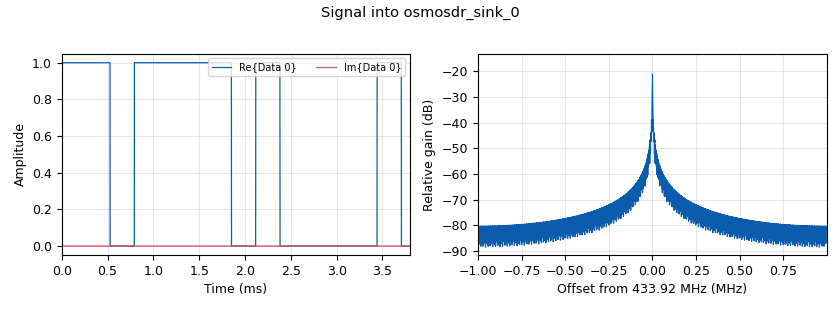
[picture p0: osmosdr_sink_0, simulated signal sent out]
<?xml version='1.0' encoding='utf-8'?>
<?grc format='1' created='3.7.9'?>
<flow_graph>
<block>
<key>options</key>
<param><key>id</key><value>top_block</value></param>
<param><key>category</key><value>Custom</value></param>
<param><key>generate_options</key><value>wx_gui</value></param>
</block>
<block>
<key>variable</key>
<param><key>id</key><value>A_off</value></param>
<param><key>value</key><value>"1010111100111001001011000"</value></param>
</block>
<block>
<key>variable</key>
<param><key>id</key><value>A_on</value></param>
<param><key>value</key><value>"1010010000010100101011000"</value></param>
</block>
<block>
<key>variable</key>
<param><key>id</key><value>B_off</value></param>
<param><key>value</key><value>"1010100010001110110001010"</value></param>
</block>
<block>
<key>variable</key>
<param><key>id</key><value>B_on</value></param>
<param><key>value</key><value>"1010110001010000000001010"</value></param>
</block>
<block>
<key>variable</key>
<param><key>id</key><value>C_off</value></param>
<param><key>value</key><value>"1010111001110110010111100"</value></param>
</block>
<block>
<key>variable</key>
<param><key>id</key><value>C_on</value></param>
<param><key>value</key><value>"1010100110011111100011100"</value></param>
</block>
<block>
<key>variable</key>
<param><key>id</key><value>samp_rate</value></param>
<param><key>value</key><value>2e6</value></param>
</block>
<block>
<key>variable</key>
<param><key>id</key><value>spacing</value></param>
<param><key>value</key><value>1</value></param>
</block>
<block>
<key>blocks_float_to_complex</key>
<param><key>id</key><value>blocks_float_to_complex_0</value></param>
</block>
<block>
<key>blocks_moving_average_xx</key>
<param><key>id</key><value>blocks_moving_average_xx_0</value></param>
<param><key>length</key><value>530/2</value></param>
<param><key>max_iter</key><value>4000</value></param>
<param><key>scale</key><value>1</value></param>
<param><key>type</key><value>float</value></param>
</block>
<block>
<key>blocks_multiply_const_vxx</key>
<param><key>id</key><value>blocks_multiply_const_vxx_0</value></param>
<param><key>const</key><value>1</value></param>
<param><key>type</key><value>float</value></param>
</block>
<block>
<key>blocks_uchar_to_float</key>
<param><key>id</key><value>blocks_uchar_to_float_0</value></param>
</block>
<block>
<key>blocks_unpack_k_bits_bb</key>
<param><key>id</key><value>blocks_unpack_k_bits_bb_0</value></param>
<param><key>k</key><value>10</value></param>
</block>
<block>
<key>blocks_vector_source_x</key>
<param><key>id</key><value>blocks_vector_source_x_0</value></param>
<param><key>type</key><value>byte</value></param>
<param><key>repeat</key><value>True</value></param>
<param><key>vector</key><value>[ int (x) for x in A_on ] + [ 2 ] * spacing</value></param>
</block>
<block>
<key>digital_map_bb</key>
<param><key>id</key><value>digital_map_bb_0</value></param>
<param><key>map</key><value>[0x03C0,0xffff,0x0000]</value></param>
</block>
<block>
<key>osmosdr_sink</key>
<param><key>id</key><value>osmosdr_sink_0</value></param>
<param><key>bb_gain0</key><value>20</value></param>
<param><key>freq0</key><value>433.92e6</value></param>
<param><key>if_gain0</key><value>20</value></param>
<param><key>gain0</key><value>10</value></param>
<param><key>args</key><value></value></param>
<param><key>type</key><value>fc32</value></param>
<param><key>sample_rate</key><value>samp_rate</value></param>
<param><key>sync</key><value></value></param>
</block>
<block>
<key>rational_resampler_xxx</key>
<param><key>id</key><value>rational_resampler_xxx_0</value></param>
<param><key>decim</key><value>1</value></param>
<param><key>fbw</key><value>4</value></param>
<param><key>interp</key><value>530/2</value></param>
<param><key>taps</key><value>1</value></param>
<param><key>type</key><value>fff</value></param>
</block>
<block>
<key>wxgui_scopesink2</key>
<param><key>id</key><value>wxgui_scopesink2_0</value></param>
<param><key>ac_couple</key><value>False</value></param>
<param><key>_enabled</key><value>0</value></param>
<param><key>num_inputs</key><value>1</value></param>
<param><key>samp_rate</key><value>samp_rate</value></param>
<param><key>t_scale</key><value>0</value></param>
<param><key>title</key><value>Scope Plot</value></param>
<param><key>trig_mode</key><value>wxgui.TRIG_MODE_AUTO</value></param>
<param><key>type</key><value>complex</value></param>
<param><key>v_offset</key><value>0</value></param>
<param><key>v_scale</key><value>0</value></param>
<param><key>xy_mode</key><value>False</value></param>
<param><key>y_axis_label</key><value>Counts</value></param>
</block>
<block>
<key>wxgui_scopesink2</key>
<param><key>id</key><value>wxgui_scopesink2_0_0</value></param>
<param><key>ac_couple</key><value>False</value></param>
<param><key>_enabled</key><value>0</value></param>
<param><key>num_inputs</key><value>1</value></param>
<param><key>samp_rate</key><value>samp_rate/1000</value></param>
<param><key>t_scale</key><value>0</value></param>
<param><key>title</key><value>Scope Plot</value></param>
<param><key>trig_mode</key><value>wxgui.TRIG_MODE_AUTO</value></param>
<param><key>type</key><value>float</value></param>
<param><key>v_offset</key><value>0</value></param>
<param><key>v_scale</key><value>0</value></param>
<param><key>xy_mode</key><value>False</value></param>
<param><key>y_axis_label</key><value>Counts</value></param>
</block>
<connection><source_block_id>blocks_float_to_complex_0</source_block_id><sink_block_id>osmosdr_sink_0</sink_block_id><source_key>0</source_key><sink_key>0</sink_key></connection>
<connection><source_block_id>blocks_float_to_complex_0</source_block_id><sink_block_id>wxgui_scopesink2_0</sink_block_id><source_key>0</source_key><sink_key>0</sink_key></connection>
<connection><source_block_id>blocks_moving_average_xx_0</source_block_id><sink_block_id>blocks_multiply_const_vxx_0</sink_block_id><source_key>0</source_key><sink_key>0</sink_key></connection>
<connection><source_block_id>blocks_moving_average_xx_0</source_block_id><sink_block_id>wxgui_scopesink2_0_0</sink_block_id><source_key>0</source_key><sink_key>0</sink_key></connection>
<connection><source_block_id>blocks_multiply_const_vxx_0</source_block_id><sink_block_id>blocks_float_to_complex_0</sink_block_id><source_key>0</source_key><sink_key>0</sink_key></connection>
<connection><source_block_id>blocks_uchar_to_float_0</source_block_id><sink_block_id>rational_resampler_xxx_0</sink_block_id><source_key>0</source_key><sink_key>0</sink_key></connection>
<connection><source_block_id>blocks_unpack_k_bits_bb_0</source_block_id><sink_block_id>blocks_uchar_to_float_0</sink_block_id><source_key>0</source_key><sink_key>0</sink_key></connection>
<connection><source_block_id>blocks_vector_source_x_0</source_block_id><sink_block_id>digital_map_bb_0</sink_block_id><source_key>0</source_key><sink_key>0</sink_key></connection>
<connection><source_block_id>digital_map_bb_0</source_block_id><sink_block_id>blocks_unpack_k_bits_bb_0</sink_block_id><source_key>0</source_key><sink_key>0</sink_key></connection>
<connection><source_block_id>rational_resampler_xxx_0</source_block_id><sink_block_id>blocks_moving_average_xx_0</sink_block_id><source_key>0</source_key><sink_key>0</sink_key></connection>
</flow_graph>
